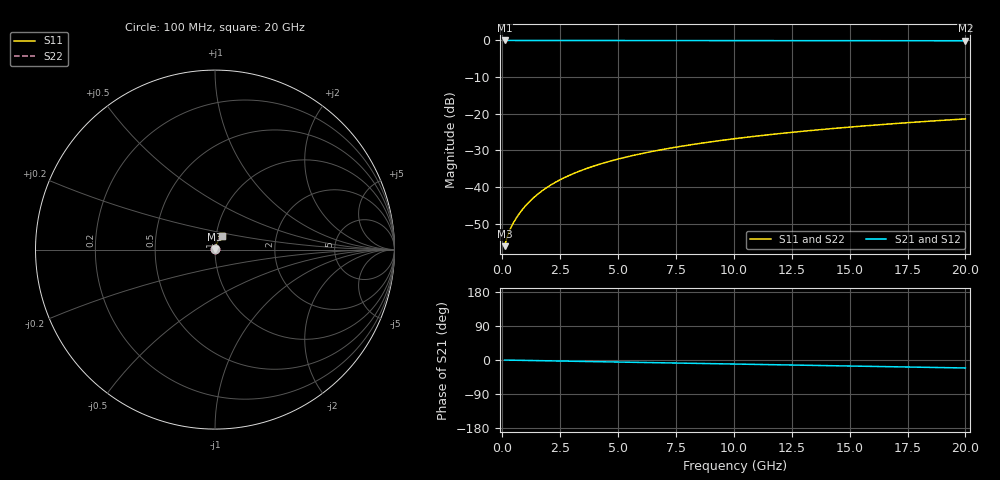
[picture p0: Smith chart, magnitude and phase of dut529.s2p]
! Touchstone file exported from HFSS 2026.1.0
!  File:  C:/ffzhzh/LocalFiles/Ansys_Project_Files/temp_train_TMRDL_529_1783007257_53980.aedt
!  Generated:  11:48:55 PM Jul  2, 2026
!  Design:  TMRDL
!  Project:  temp_train_TMRDL_529_1783007257_53980
! Variables:
!  h_bsmrdl = 2um
!  h_ox = 20um
!  h_rdl = 5um
!  h_sub = 80um
!  h_tmrdl = 3.89um
!  h_tsv = 80um
!  h_via = 3um
!  l_bsmrdl = 300um
!  l_sub = 746.18um
!  l_tmrdl = 346.18um
!  m_sub = 200um
!  pitch = 37.12um
!  r_tsv = 6um
!  s_tmrdl = 10um
!  w_bsmrdl = 18um
!  w_sub = 500um
!  w_tmrdl = 27.92um
!  x_tsv_center1 = 360.14um
!  x_tsv_center2 = 678.14um
!  x_tsv_center3 = 1052.24um
!  x_tsv_center4 = 1370.24um
!  x_tsv_center5 = 1744.34um
!  x_tsv_center6 = 2062.34um
# GHz S MA R 50.000000
! Terminal data exported
! Port[1] = TM_RDL1_1_T1
! Port[2] = TM_RDL1_1_T2
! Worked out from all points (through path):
!   200 points, 100 MHz to 20 GHz, reference 50 ohm
!   highest |S21| = -0.01 dB at 100 MHz (marker M1); lowest = -0.1 dB at 20 GHz (marker M2)
!   group delay of S21, straight-line fit = 2.92 ps
!   lowest |S11| = -56.1 dB at 100 MHz (marker M3), VSWR 1.00, Z = 50.1 + j0.0722 ohm
!   |S11| at or under -10 dB: start of sweep to end of sweep
!   |S22| runs from -56.1 to -21.4 dB; largest |S21 - S12| = 4.3e-15
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0.1  0.00157 27.3  0.9986 -0.1  0.9986 -0.1  0.00157 27.3
! Gamma 0 0 0 0
! Port Impedance 50 0 50 0
0.2  0.002046 40.2  0.9984 -0.2  0.9984 -0.2  0.002046 40.2
0.3  0.002503 47.0  0.9983 -0.3  0.9983 -0.3  0.002504 47.0
0.4  0.002931 51.8  0.9982 -0.5  0.9982 -0.5  0.002932 51.8
0.5  0.003352 55.7  0.9981 -0.6  0.9981 -0.6  0.003352 55.7
0.8  0.004648 63.8  0.998 -0.9  0.998 -0.9  0.004648 63.8
1  0.00555 67.3  0.9979 -1.1  0.9979 -1.1  0.00555 67.3
1.2  0.006474 69.8  0.9978 -1.3  0.9978 -1.3  0.006474 69.8
1.4  0.00741 71.6  0.9978 -1.5  0.9978 -1.5  0.00741 71.6
1.7  0.008829 73.4  0.9977 -1.9  0.9977 -1.9  0.008828 73.4
2.2  0.0112 75.2  0.9975 -2.4  0.9975 -2.4  0.0112 75.2
2.8  0.01404 76.1  0.9973 -3.0  0.9973 -3.0  0.01404 76.1
3.5  0.01731 76.5  0.9969 -3.8  0.9969 -3.8  0.01731 76.5
4.2  0.02054 76.4  0.9966 -4.5  0.9966 -4.5  0.02054 76.4
5  0.02416 76.1  0.9961 -5.4  0.9961 -5.4  0.02417 76.1
5.9  0.02817 75.5  0.9956 -6.4  0.9956 -6.4  0.02817 75.5
6.8  0.0321 74.9  0.9951 -7.3  0.9951 -7.3  0.0321 74.9
8.3  0.03852 73.7  0.9943 -8.9  0.9943 -8.9  0.03852 73.7
10.1  0.04605 72.3  0.9933 -10.8  0.9933 -10.8  0.04606 72.2
13.4  0.0595 69.5  0.9916 -14.2  0.9916 -14.2  0.0595 69.4
16.7  0.07256 66.6  0.99 -17.6  0.99 -17.6  0.07257 66.5
20  0.08523 63.6  0.9883 -21.1  0.9883 -21.1  0.08524 63.5
